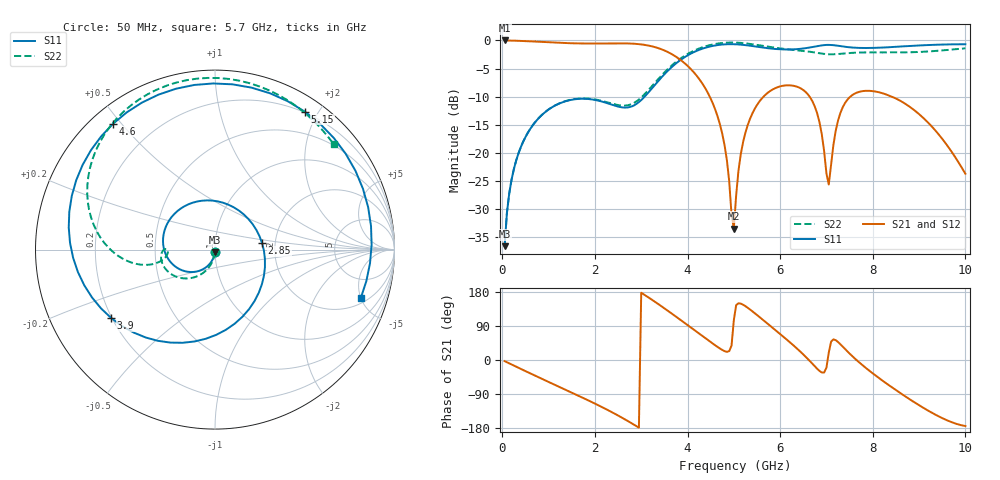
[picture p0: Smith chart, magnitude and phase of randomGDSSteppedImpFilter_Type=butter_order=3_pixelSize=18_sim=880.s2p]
! freq	dB(S11)	phase(S11)	dB(S12)	phase(S12)
!  dB(S21)	phase(S21)	dB(S22)	phase(S22)
!S-par simulation data
#  GHz  S  DB  R 50
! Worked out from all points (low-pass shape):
!   200 points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, 50 MHz to 10 GHz, reference 50 ohm
!   highest |S21| = -0.01 dB at 50 MHz (marker M1); lowest = -33.5 dB at 5 GHz (marker M2)
!   |S21| within 3 dB of the highest: start of sweep to 3.771 GHz
!   lowest |S11| = -36.6 dB at 50 MHz (marker M3), VSWR 1.03, Z = 49.9 - j1.47 ohm
!   |S11| at or under -10 dB: start of sweep to 3.074 GHz
!   |S22| runs from -36.6 to -0.4 dB; largest |S21 - S12| = 0
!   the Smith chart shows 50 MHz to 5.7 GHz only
!   S11 on the Smith chart (normalised r, x): 50 MHz: 1.00, -0.03; 2.85 GHz: 1.71, +0.13; 3.9 GHz: 0.20, -0.29; 4.6 GHz: 0.06, +0.48; 5.15 GHz: 0.19, +1.83; 5.7 GHz: 2.47, -4.99
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0.05  -36.62 -92.4  -0.01 -3.0  -0.01 -3.0  -36.61 -91.6
0.2  -24.78 -103.7  -0.03 -11.8  -0.03 -11.8  -24.77 -100.4
0.5  -17.21 -124.1  -0.12 -29.3  -0.12 -29.3  -17.19 -115.5
1.75  -10.38 147.2  -0.55 -100.3  -0.55 -100.3  -10.32 -168.9
2.85  -11.54 7.6  -0.60 -171.1  -0.60 -171.1  -11.09 -171.4
3.4  -6.92 -82.2  -1.46 144.9  -1.46 144.9  -6.57 -171.1
3.9  -3.18 -146.7  -3.80 101.2  -3.80 101.2  -2.93 165.4
4.25  -1.68 171.4  -6.85 69.7  -6.85 69.7  -1.43 143.6
4.6  -0.89 128.9  -12.35 38.5  -12.35 38.5  -0.63 120.2
5  -0.68 77.3  -33.48 105.4  -33.48 105.4  -0.38 92.4
5.05  -0.69 70.6  -27.56 144.7  -27.56 144.7  -0.39 88.9
5.15  -0.75 56.9  -20.23 148.8  -20.23 148.8  -0.44 81.8
5.7  -1.35 -18.4  -9.54 98.8  -9.54 98.8  -1.07 41.7
6.3  -1.58 -89.3  -8.09 37.2  -8.09 37.2  -1.70 -14.6
6.7  -1.17 -127.8  -10.88 -10.4  -10.88 -10.4  -2.09 -80.8
7.05  -0.80 -160.2  -25.65 19.6  -25.65 19.6  -2.47 179.2
7.35  -1.07 175.0  -11.92 35.5  -11.92 35.5  -2.35 91.0
7.8  -1.35 145.4  -9.00 -15.9  -9.00 -15.9  -2.14 5.3
8.35  -1.21 112.4  -9.83 -66.7  -9.83 -66.7  -2.13 -69.5
8.75  -1.01 88.8  -11.54 -99.9  -11.54 -99.9  -2.12 -119.4
9.2  -0.82 62.7  -14.67 -133.9  -14.67 -133.9  -1.97 -172.0
10  -0.68 18.7  -23.73 -174.3  -23.73 -174.3  -1.41 108.1
